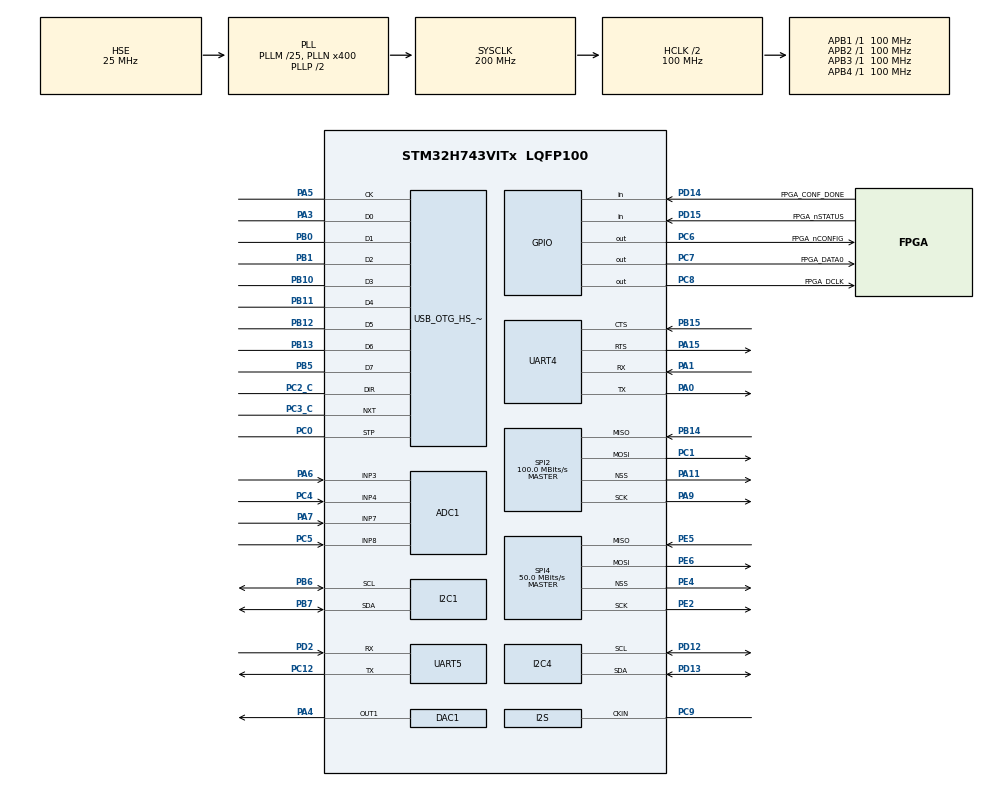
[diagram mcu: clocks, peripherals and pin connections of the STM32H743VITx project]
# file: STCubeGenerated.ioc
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ADC1.Channel-0\#ChannelRegularConversion=ADC_CHANNEL_3
ADC1.NbrOfConversionFlag=1
ADC1.OffsetNumber-0\#ChannelRegularConversion=ADC_OFFSET_NONE
ADC1.Rank-0\#ChannelRegularConversion=1
ADC1.SamplingTime-0\#ChannelRegularConversion=ADC_SAMPLETIME_1CYCLE_5
ADC1.master=1
Bdma.I2C4_RX.0.Direction=DMA_PERIPH_TO_MEMORY
Bdma.I2C4_RX.0.EventEnable=DISABLE
Bdma.I2C4_RX.0.Instance=BDMA_Channel0
Bdma.I2C4_RX.0.MemDataAlignment=DMA_MDATAALIGN_BYTE
Bdma.I2C4_RX.0.MemInc=DMA_MINC_ENABLE
Bdma.I2C4_RX.0.Mode=DMA_NORMAL
Bdma.I2C4_RX.0.PeriphDataAlignment=DMA_PDATAALIGN_BYTE
Bdma.I2C4_RX.0.PeriphInc=DMA_PINC_DISABLE
Bdma.I2C4_RX.0.Polarity=HAL_DMAMUX_REQ_GEN_RISING
Bdma.I2C4_RX.0.Priority=DMA_PRIORITY_LOW
Bdma.I2C4_RX.0.RequestNumber=1
Bdma.I2C4_RX.0.SignalID=NONE
Bdma.I2C4_RX.0.SyncEnable=DISABLE
Bdma.I2C4_RX.0.SyncPolarity=HAL_DMAMUX_SYNC_NO_EVENT
Bdma.I2C4_RX.0.SyncRequestNumber=1
Bdma.I2C4_RX.0.SyncSignalID=NONE
Bdma.I2C4_TX.1.Direction=DMA_MEMORY_TO_PERIPH
Bdma.I2C4_TX.1.EventEnable=DISABLE
Bdma.I2C4_TX.1.Instance=BDMA_Channel1
Bdma.I2C4_TX.1.MemDataAlignment=DMA_MDATAALIGN_BYTE
Bdma.I2C4_TX.1.MemInc=DMA_MINC_ENABLE
Bdma.I2C4_TX.1.Mode=DMA_NORMAL
Bdma.I2C4_TX.1.PeriphDataAlignment=DMA_PDATAALIGN_BYTE
Bdma.I2C4_TX.1.PeriphInc=DMA_PINC_DISABLE
Bdma.I2C4_TX.1.Polarity=HAL_DMAMUX_REQ_GEN_RISING
Bdma.I2C4_TX.1.Priority=DMA_PRIORITY_LOW
Bdma.I2C4_TX.1.RequestNumber=1
Bdma.I2C4_TX.1.SignalID=NONE
Bdma.I2C4_TX.1.SyncEnable=DISABLE
Bdma.I2C4_TX.1.SyncPolarity=HAL_DMAMUX_SYNC_NO_EVENT
Bdma.I2C4_TX.1.SyncRequestNumber=1
Bdma.I2C4_TX.1.SyncSignalID=NONE
Bdma.Request0=I2C4_RX
Bdma.Request1=I2C4_TX
Bdma.RequestsNb=2
CORTEX_M7.CPU_DCache=Enabled
CORTEX_M7.CPU_ICache=Enabled
Dma.I2C1_RX.0.Direction=DMA_PERIPH_TO_MEMORY
Dma.I2C1_RX.0.EventEnable=DISABLE
Dma.I2C1_RX.0.FIFOMode=DMA_FIFOMODE_DISABLE
Dma.I2C1_RX.0.Instance=DMA1_Stream0
Dma.I2C1_RX.0.MemDataAlignment=DMA_MDATAALIGN_BYTE
Dma.I2C1_RX.0.MemInc=DMA_MINC_ENABLE
Dma.I2C1_RX.0.Mode=DMA_NORMAL
Dma.I2C1_RX.0.PeriphDataAlignment=DMA_PDATAALIGN_BYTE
Dma.I2C1_RX.0.PeriphInc=DMA_PINC_DISABLE
Dma.I2C1_RX.0.Polarity=HAL_DMAMUX_REQ_GEN_RISING
Dma.I2C1_RX.0.Priority=DMA_PRIORITY_LOW
Dma.I2C1_RX.0.RequestNumber=1
Dma.I2C1_RX.0.SignalID=NONE
Dma.I2C1_RX.0.SyncEnable=DISABLE
Dma.I2C1_RX.0.SyncPolarity=HAL_DMAMUX_SYNC_NO_EVENT
Dma.I2C1_RX.0.SyncRequestNumber=1
Dma.I2C1_RX.0.SyncSignalID=NONE
Dma.I2C1_TX.1.Direction=DMA_MEMORY_TO_PERIPH
Dma.I2C1_TX.1.EventEnable=DISABLE
Dma.I2C1_TX.1.FIFOMode=DMA_FIFOMODE_DISABLE
Dma.I2C1_TX.1.Instance=DMA1_Stream1
Dma.I2C1_TX.1.MemDataAlignment=DMA_MDATAALIGN_BYTE
Dma.I2C1_TX.1.MemInc=DMA_MINC_ENABLE
Dma.I2C1_TX.1.Mode=DMA_NORMAL
Dma.I2C1_TX.1.PeriphDataAlignment=DMA_PDATAALIGN_BYTE
Dma.I2C1_TX.1.PeriphInc=DMA_PINC_DISABLE
Dma.I2C1_TX.1.Polarity=HAL_DMAMUX_REQ_GEN_RISING
Dma.I2C1_TX.1.Priority=DMA_PRIORITY_LOW
Dma.I2C1_TX.1.RequestNumber=1
Dma.I2C1_TX.1.SignalID=NONE
Dma.I2C1_TX.1.SyncEnable=DISABLE
Dma.I2C1_TX.1.SyncPolarity=HAL_DMAMUX_SYNC_NO_EVENT
Dma.I2C1_TX.1.SyncRequestNumber=1
Dma.I2C1_TX.1.SyncSignalID=NONE
Dma.Request0=I2C1_RX
Dma.Request1=I2C1_TX
Dma.Request2=SPI2_RX
Dma.Request3=SPI2_TX
Dma.Request4=SPI4_RX
Dma.Request5=SPI4_TX
Dma.Request6=UART4_RX
Dma.Request7=UART4_TX
Dma.Request8=UART5_RX
Dma.Request9=UART5_TX
Dma.SPI2_RX.2.Direction=DMA_PERIPH_TO_MEMORY
Dma.SPI2_RX.2.EventEnable=DISABLE
Dma.SPI2_RX.2.FIFOMode=DMA_FIFOMODE_DISABLE
Dma.SPI2_RX.2.Instance=DMA1_Stream2
Dma.SPI2_RX.2.MemDataAlignment=DMA_MDATAALIGN_BYTE
Dma.SPI2_RX.2.MemInc=DMA_MINC_ENABLE
Dma.SPI2_RX.2.Mode=DMA_NORMAL
Dma.SPI2_RX.2.PeriphDataAlignment=DMA_PDATAALIGN_BYTE
Dma.SPI2_RX.2.PeriphInc=DMA_PINC_DISABLE
Dma.SPI2_RX.2.Polarity=HAL_DMAMUX_REQ_GEN_RISING
Dma.SPI2_RX.2.Priority=DMA_PRIORITY_LOW
Dma.SPI2_RX.2.RequestNumber=1
Dma.SPI2_RX.2.SignalID=NONE
Dma.SPI2_RX.2.SyncEnable=DISABLE
Dma.SPI2_RX.2.SyncPolarity=HAL_DMAMUX_SYNC_NO_EVENT
Dma.SPI2_RX.2.SyncRequestNumber=1
Dma.SPI2_RX.2.SyncSignalID=NONE
Dma.SPI2_TX.3.Direction=DMA_MEMORY_TO_PERIPH
Dma.SPI2_TX.3.EventEnable=DISABLE
Dma.SPI2_TX.3.FIFOMode=DMA_FIFOMODE_DISABLE
Dma.SPI2_TX.3.Instance=DMA1_Stream3
Dma.SPI2_TX.3.MemDataAlignment=DMA_MDATAALIGN_BYTE
Dma.SPI2_TX.3.MemInc=DMA_MINC_ENABLE
Dma.SPI2_TX.3.Mode=DMA_NORMAL
Dma.SPI2_TX.3.PeriphDataAlignment=DMA_PDATAALIGN_BYTE
Dma.SPI2_TX.3.PeriphInc=DMA_PINC_DISABLE
Dma.SPI2_TX.3.Polarity=HAL_DMAMUX_REQ_GEN_RISING
Dma.SPI2_TX.3.Priority=DMA_PRIORITY_LOW
Dma.SPI2_TX.3.RequestNumber=1
Dma.SPI2_TX.3.SignalID=NONE
Dma.SPI2_TX.3.SyncEnable=DISABLE
Dma.SPI2_TX.3.SyncPolarity=HAL_DMAMUX_SYNC_NO_EVENT
Dma.SPI2_TX.3.SyncRequestNumber=1
Dma.SPI2_TX.3.SyncSignalID=NONE
Dma.SPI4_RX.4.Direction=DMA_PERIPH_TO_MEMORY
Dma.SPI4_RX.4.EventEnable=DISABLE
Dma.SPI4_RX.4.FIFOMode=DMA_FIFOMODE_DISABLE
Dma.SPI4_RX.4.Instance=DMA1_Stream4
Dma.SPI4_RX.4.MemDataAlignment=DMA_MDATAALIGN_BYTE
Dma.SPI4_RX.4.MemInc=DMA_MINC_ENABLE
Dma.SPI4_RX.4.Mode=DMA_NORMAL
Dma.SPI4_RX.4.PeriphDataAlignment=DMA_PDATAALIGN_BYTE
Dma.SPI4_RX.4.PeriphInc=DMA_PINC_DISABLE
Dma.SPI4_RX.4.Polarity=HAL_DMAMUX_REQ_GEN_RISING
Dma.SPI4_RX.4.Priority=DMA_PRIORITY_LOW
Dma.SPI4_RX.4.RequestNumber=1
Dma.SPI4_RX.4.SignalID=NONE
Dma.SPI4_RX.4.SyncEnable=DISABLE
Dma.SPI4_RX.4.SyncPolarity=HAL_DMAMUX_SYNC_NO_EVENT
Dma.SPI4_RX.4.SyncRequestNumber=1
Dma.SPI4_RX.4.SyncSignalID=NONE
Dma.SPI4_TX.5.Direction=DMA_MEMORY_TO_PERIPH
Dma.SPI4_TX.5.EventEnable=DISABLE
Dma.SPI4_TX.5.FIFOMode=DMA_FIFOMODE_DISABLE
Dma.SPI4_TX.5.Instance=DMA1_Stream5
Dma.SPI4_TX.5.MemDataAlignment=DMA_MDATAALIGN_BYTE
Dma.SPI4_TX.5.MemInc=DMA_MINC_ENABLE
Dma.SPI4_TX.5.Mode=DMA_NORMAL
Dma.SPI4_TX.5.PeriphDataAlignment=DMA_PDATAALIGN_BYTE
Dma.SPI4_TX.5.PeriphInc=DMA_PINC_DISABLE
Dma.SPI4_TX.5.Polarity=HAL_DMAMUX_REQ_GEN_RISING
Dma.SPI4_TX.5.Priority=DMA_PRIORITY_LOW
Dma.SPI4_TX.5.RequestNumber=1
Dma.SPI4_TX.5.SignalID=NONE
Dma.SPI4_TX.5.SyncEnable=DISABLE
Dma.SPI4_TX.5.SyncPolarity=HAL_DMAMUX_SYNC_NO_EVENT
Dma.SPI4_TX.5.SyncRequestNumber=1
Dma.SPI4_TX.5.SyncSignalID=NONE
Dma.UART4_RX.6.Direction=DMA_PERIPH_TO_MEMORY
Dma.UART4_RX.6.EventEnable=DISABLE
Dma.UART4_RX.6.FIFOMode=DMA_FIFOMODE_DISABLE
Dma.UART4_RX.6.Instance=DMA1_Stream6
Dma.UART4_RX.6.MemDataAlignment=DMA_MDATAALIGN_BYTE
Dma.UART4_RX.6.MemInc=DMA_MINC_ENABLE
Dma.UART4_RX.6.Mode=DMA_NORMAL
Dma.UART4_RX.6.PeriphDataAlignment=DMA_PDATAALIGN_BYTE
Dma.UART4_RX.6.PeriphInc=DMA_PINC_DISABLE
Dma.UART4_RX.6.Polarity=HAL_DMAMUX_REQ_GEN_RISING
Dma.UART4_RX.6.Priority=DMA_PRIORITY_LOW
Dma.UART4_RX.6.RequestNumber=1
Dma.UART4_RX.6.SignalID=NONE
Dma.UART4_RX.6.SyncEnable=DISABLE
Dma.UART4_RX.6.SyncPolarity=HAL_DMAMUX_SYNC_NO_EVENT
Dma.UART4_RX.6.SyncRequestNumber=1
Dma.UART4_RX.6.SyncSignalID=NONE
Dma.UART4_TX.7.Direction=DMA_MEMORY_TO_PERIPH
Dma.UART4_TX.7.EventEnable=DISABLE
Dma.UART4_TX.7.FIFOMode=DMA_FIFOMODE_DISABLE
Dma.UART4_TX.7.Instance=DMA1_Stream7
Dma.UART4_TX.7.MemDataAlignment=DMA_MDATAALIGN_BYTE
Dma.UART4_TX.7.MemInc=DMA_MINC_ENABLE
Dma.UART4_TX.7.Mode=DMA_NORMAL
Dma.UART4_TX.7.PeriphDataAlignment=DMA_PDATAALIGN_BYTE
Dma.UART4_TX.7.PeriphInc=DMA_PINC_DISABLE
Dma.UART4_TX.7.Polarity=HAL_DMAMUX_REQ_GEN_RISING
Dma.UART4_TX.7.Priority=DMA_PRIORITY_LOW
Dma.UART4_TX.7.RequestNumber=1
Dma.UART4_TX.7.SignalID=NONE
Dma.UART4_TX.7.SyncEnable=DISABLE
Dma.UART4_TX.7.SyncPolarity=HAL_DMAMUX_SYNC_NO_EVENT
Dma.UART4_TX.7.SyncRequestNumber=1
Dma.UART4_TX.7.SyncSignalID=NONE
Dma.UART5_RX.8.Direction=DMA_PERIPH_TO_MEMORY
Dma.UART5_RX.8.EventEnable=DISABLE
Dma.UART5_RX.8.FIFOMode=DMA_FIFOMODE_DISABLE
Dma.UART5_RX.8.Instance=DMA2_Stream0
Dma.UART5_RX.8.MemDataAlignment=DMA_MDATAALIGN_BYTE
Dma.UART5_RX.8.MemInc=DMA_MINC_ENABLE
Dma.UART5_RX.8.Mode=DMA_NORMAL
Dma.UART5_RX.8.PeriphDataAlignment=DMA_PDATAALIGN_BYTE
Dma.UART5_RX.8.PeriphInc=DMA_PINC_DISABLE
Dma.UART5_RX.8.Polarity=HAL_DMAMUX_REQ_GEN_RISING
Dma.UART5_RX.8.Priority=DMA_PRIORITY_LOW
Dma.UART5_RX.8.RequestNumber=1
Dma.UART5_RX.8.SignalID=NONE
Dma.UART5_RX.8.SyncEnable=DISABLE
Dma.UART5_RX.8.SyncPolarity=HAL_DMAMUX_SYNC_NO_EVENT
Dma.UART5_RX.8.SyncRequestNumber=1
Dma.UART5_RX.8.SyncSignalID=NONE
Dma.UART5_TX.9.Direction=DMA_MEMORY_TO_PERIPH
Dma.UART5_TX.9.EventEnable=DISABLE
Dma.UART5_TX.9.FIFOMode=DMA_FIFOMODE_DISABLE
Dma.UART5_TX.9.Instance=DMA2_Stream1
Dma.UART5_TX.9.MemDataAlignment=DMA_MDATAALIGN_BYTE
Dma.UART5_TX.9.MemInc=DMA_MINC_ENABLE
Dma.UART5_TX.9.Mode=DMA_NORMAL
Dma.UART5_TX.9.PeriphDataAlignment=DMA_PDATAALIGN_BYTE
Dma.UART5_TX.9.PeriphInc=DMA_PINC_DISABLE
Dma.UART5_TX.9.Polarity=HAL_DMAMUX_REQ_GEN_RISING
Dma.UART5_TX.9.Priority=DMA_PRIORITY_LOW
Dma.UART5_TX.9.RequestNumber=1
Dma.UART5_TX.9.SignalID=NONE
Dma.UART5_TX.9.SyncEnable=DISABLE
Dma.UART5_TX.9.SyncPolarity=HAL_DMAMUX_SYNC_NO_EVENT
Dma.UART5_TX.9.SyncRequestNumber=1
Dma.UART5_TX.9.SyncSignalID=NONE
I2C1.Timing=0x10C0ECFF
I2C4.Timing=0x10C0ECFF
Mcu.Family=STM32H7
Mcu.Name=STM32H743VITx
Mcu.Package=LQFP100
NVIC.BDMA_Channel0_IRQn=true\:0\:0\:false\:false\:true\:false\:true
NVIC.BDMA_Channel1_IRQn=true\:0\:0\:false\:false\:true\:false\:true
NVIC.DMA1_Stream0_IRQn=true\:0\:0\:false\:false\:true\:false\:true
NVIC.DMA1_Stream1_IRQn=true\:0\:0\:false\:false\:true\:false\:true
NVIC.DMA1_Stream2_IRQn=true\:0\:0\:false\:false\:true\:false\:true
NVIC.DMA1_Stream3_IRQn=true\:0\:0\:false\:false\:true\:false\:true
NVIC.DMA1_Stream4_IRQn=true\:0\:0\:false\:false\:true\:false\:true
NVIC.DMA1_Stream5_IRQn=true\:0\:0\:false\:false\:true\:false\:true
NVIC.DMA1_Stream6_IRQn=true\:0\:0\:false\:false\:true\:false\:true
NVIC.DMA1_Stream7_IRQn=true\:0\:0\:false\:false\:true\:false\:true
NVIC.DMA2_Stream0_IRQn=true\:0\:0\:false\:false\:true\:false\:true
NVIC.DMA2_Stream1_IRQn=true\:0\:0\:false\:false\:true\:false\:true
NVIC.PriorityGroup=NVIC_PRIORITYGROUP_4
NVIC.SPI2_IRQn=true\:0\:0\:false\:false\:true\:false\:true
NVIC.SPI4_IRQn=true\:0\:0\:false\:false\:true\:false\:true
PA0.Mode=Asynchronous
PA0.Signal=UART4_TX
PA1.Mode=Asynchronous
PA1.Signal=UART4_RX
PA11.Mode=NSS_Signal_Hard_Output
PA11.Signal=SPI2_NSS
PA13\ (JTMS/SWDIO).Mode=Trace_Asynchronous_SW
PA13\ (JTMS/SWDIO).Signal=SYS_JTMS-SWDIO
PA14\ (JTCK/SWCLK).Mode=Trace_Asynchronous_SW
PA14\ (JTCK/SWCLK).Signal=SYS_JTCK-SWCLK
PA15\ (JTDI).Mode=CTS_RTS
PA15\ (JTDI).Signal=UART4_RTS
PA3.Mode=Host_HS
PA3.Signal=USB_OTG_HS_ULPI_D0
PA4.Signal=COMP_DAC11_group
PA5.Mode=Host_HS
PA5.Signal=USB_OTG_HS_ULPI_CK
PA6.Signal=ADCx_INP3
PA7.Signal=ADCx_INP7
PA9.Mode=Full_Duplex_Master
PA9.Signal=SPI2_SCK
PB0.Mode=Host_HS
PB0.Signal=USB_OTG_HS_ULPI_D1
PB1.Mode=Host_HS
PB1.Signal=USB_OTG_HS_ULPI_D2
PB10.Mode=Host_HS
PB10.Signal=USB_OTG_HS_ULPI_D3
PB11.Mode=Host_HS
PB11.Signal=USB_OTG_HS_ULPI_D4
PB12.Mode=Host_HS
PB12.Signal=USB_OTG_HS_ULPI_D5
PB13.Mode=Host_HS
PB13.Signal=USB_OTG_HS_ULPI_D6
PB14.Mode=Full_Duplex_Master
PB14.Signal=SPI2_MISO
PB15.Mode=CTS_RTS
PB15.Signal=UART4_CTS
PB3\ (JTDO/TRACESWO).Mode=Trace_Asynchronous_SW
PB3\ (JTDO/TRACESWO).Signal=SYS_JTDO-SWO
PB5.Mode=Host_HS
PB5.Signal=USB_OTG_HS_ULPI_D7
PB6.Mode=I2C
PB6.Signal=I2C1_SCL
PB7.Mode=I2C
PB7.Signal=I2C1_SDA
PC0.Mode=Host_HS
PC0.Signal=USB_OTG_HS_ULPI_STP
PC1.Mode=Full_Duplex_Master
PC1.Signal=SPI2_MOSI
PC12.Mode=Asynchronous
PC12.Signal=UART5_TX
PC14-OSC32_IN\ (OSC32_IN).Mode=LSE-External-Oscillator
PC14-OSC32_IN\ (OSC32_IN).Signal=RCC_OSC32_IN
PC15-OSC32_OUT\ (OSC32_OUT).Mode=LSE-External-Oscillator
PC15-OSC32_OUT\ (OSC32_OUT).Signal=RCC_OSC32_OUT
PC2_C.Mode=Host_HS
PC2_C.Signal=USB_OTG_HS_ULPI_DIR
PC3_C.Mode=Host_HS
PC3_C.Signal=USB_OTG_HS_ULPI_NXT
PC4.Signal=ADCx_INP4
PC5.Signal=ADCx_INP8
PC6.GPIO_Label=FPGA_nCONFIG
PC6.GPIO_ModeDefaultOutputPP=GPIO_MODE_OUTPUT_OD
PC6.GPIO_PuPd=GPIO_PULLUP
PC6.PinState=GPIO_PIN_SET
PC6.Signal=GPIO_Output
PC7.GPIO_Label=FPGA_DATA0
PC7.Signal=GPIO_Output
PC8.GPIO_Label=FPGA_DCLK
PC8.Signal=GPIO_Output
PC9.Mode=Audio_ClockIn
PC9.Signal=I2S_CKIN
PD12.Mode=I2C
PD12.Signal=I2C4_SCL
PD13.Mode=I2C
PD13.Signal=I2C4_SDA
PD14.GPIO_Label=FPGA_CONF_DONE
PD14.GPIO_PuPd=GPIO_PULLUP
PD14.Signal=GPIO_Input
PD15.GPIO_Label=FPGA_nSTATUS
PD15.GPIO_PuPd=GPIO_PULLUP
PD15.Signal=GPIO_Input
PD2.Mode=Asynchronous
PD2.Signal=UART5_RX
PE2.Mode=Full_Duplex_Master
PE2.Signal=SPI4_SCK
PE4.Mode=NSS_Signal_Hard_Output
PE4.Signal=SPI4_NSS
PE5.Mode=Full_Duplex_Master
PE5.Signal=SPI4_MISO
PE6.Mode=Full_Duplex_Master
PE6.Signal=SPI4_MOSI
PH0-OSC_IN\ (PH0).Mode=HSE-External-Clock-Source
PH0-OSC_IN\ (PH0).Signal=RCC_OSC_IN
PH1-OSC_OUT\ (PH1).Mode=HSE-External-Clock-Source
PH1-OSC_OUT\ (PH1).Signal=RCC_OSC_OUT
ProjectManager.HeapSize=0x200
ProjectManager.StackSize=0x400
ProjectManager.TargetToolchain=Makefile
RCC.ADCFreq_Value=100000000
RCC.APB1Freq_Value=100000000
RCC.APB2Freq_Value=100000000
RCC.APB3Freq_Value=100000000
RCC.APB4Freq_Value=100000000
RCC.CortexFreq_Value=200000000
RCC.DIVM1=25
RCC.DIVM2=25
RCC.DIVM3=25
RCC.DIVN1=400
RCC.DIVN2=200
RCC.HCLKFreq_Value=100000000
RCC.HPRE=RCC_HCLK_DIV2
RCC.PLLSourceVirtual=RCC_PLLSOURCE_HSE
RCC.SYSCLKFreq_VALUE=200000000
RCC.SYSCLKSource=RCC_SYSCLKSOURCE_PLLCLK
RCC.USBFreq_Value=200000000
SH.ADCx_INP3.0=ADC1_INP3,IN3-Single-Ended
SH.ADCx_INP4.0=ADC1_INP4,IN4-Single-Ended
SH.ADCx_INP7.0=ADC1_INP7,IN7-Single-Ended
SH.ADCx_INP8.0=ADC1_INP8,IN8-Single-Ended
SH.COMP_DAC11_group.0=DAC1_OUT1,DAC_OUT1
SPI2.CalculateBaudRate=100.0 MBits/s
SPI2.Direction=SPI_DIRECTION_2LINES
SPI2.Mode=SPI_MODE_MASTER
SPI2.VirtualNSS=VM_NSSHARD
SPI2.VirtualType=VM_MASTER
SPI4.CalculateBaudRate=50.0 MBits/s
SPI4.Direction=SPI_DIRECTION_2LINES
SPI4.Mode=SPI_MODE_MASTER
SPI4.VirtualNSS=VM_NSSHARD
SPI4.VirtualType=VM_MASTER
USB_OTG_HS.VirtualMode-Host_HS=Host_HS
board=custom

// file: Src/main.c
/* USER CODE BEGIN Header */
/**
  ******************************************************************************
  * @file           : main.c
  * @brief          : Main program body
  ******************************************************************************
  * @attention
  *
  * <h2><center>&copy; Copyright (c) 2019 STMicroelectronics.
  * All rights reserved.</center></h2>
  *
  * This software component is licensed by ST under BSD 3-Clause license,
  * the "License"; You may not use this file except in compliance with the
  * License. You may obtain a copy of the License at:
  *                        opensource.org/licenses/BSD-3-Clause
  *
  ******************************************************************************
  */
/* USER CODE END Header */

#include "main.h"

/* USER CODE BEGIN Includes */
#include "..\..\..\altera\blue_spirit_hd_transport.rbf.h"
#include "..\..\..\segger-rtt\SEGGER_RTT.h"
/* USER CODE END Includes */

ADC_HandleTypeDef hadc1;

DAC_HandleTypeDef hdac1;

I2C_HandleTypeDef hi2c1;
I2C_HandleTypeDef hi2c4;
DMA_HandleTypeDef hdma_i2c1_rx;
DMA_HandleTypeDef hdma_i2c1_tx;
DMA_HandleTypeDef hdma_i2c4_rx;
DMA_HandleTypeDef hdma_i2c4_tx;

SPI_HandleTypeDef hspi2;
SPI_HandleTypeDef hspi4;
DMA_HandleTypeDef hdma_spi2_rx;
DMA_HandleTypeDef hdma_spi2_tx;
DMA_HandleTypeDef hdma_spi4_rx;
DMA_HandleTypeDef hdma_spi4_tx;

UART_HandleTypeDef huart4;
UART_HandleTypeDef huart5;
DMA_HandleTypeDef hdma_uart4_rx;
DMA_HandleTypeDef hdma_uart4_tx;
DMA_HandleTypeDef hdma_uart5_rx;
DMA_HandleTypeDef hdma_uart5_tx;

HCD_HandleTypeDef hhcd_USB_OTG_HS;

void SystemClock_Config(void);
static void MX_GPIO_Init(void);
static void MX_DMA_Init(void);
static void MX_ADC1_Init(void);
static void MX_DAC1_Init(void);
static void MX_I2C1_Init(void);
static void MX_I2C4_Init(void);
static void MX_SPI2_Init(void);
static void MX_SPI4_Init(void);
static void MX_UART4_Init(void);
static void MX_UART5_Init(void);
static void MX_BDMA_Init(void);

int main(void)
{
  /* USER CODE BEGIN 1 */
	unsigned char uchRes = 0;
	SEGGER_RTT_WriteString( 0, "Hello Word!!! Bggg\n");

  /* USER CODE END 1 */

  /* Enable I-Cache---------------------------------------------------------*/
  SCB_EnableICache();

  /* Enable D-Cache---------------------------------------------------------*/
  SCB_EnableDCache();

  /* MCU Configuration--------------------------------------------------------*/

  /* Reset of all peripherals, Initializes the Flash interface and the Systick. */
  HAL_Init();

  /* Configure the system clock */
  SystemClock_Config();

  /* Initialize all configured peripherals */
  MX_GPIO_Init();
  MX_DMA_Init();
  MX_ADC1_Init();
  MX_DAC1_Init();
  MX_I2C1_Init();
  MX_I2C4_Init();
  MX_SPI2_Init();
  MX_SPI4_Init();
  MX_UART4_Init();
  MX_UART5_Init();
  MX_BDMA_Init();
  /* USER CODE BEGIN 2 */
  	uchRes = rbf_load_fpga( 1000 );
 	while( uchRes != 0 )
	{
 		uchRes = rbf_load_fpga( 1000 );
	}

  /* USER CODE END 2 */

  /* Infinite loop */
  while (1)
  {

  }
}

void SystemClock_Config(void)
{
  RCC_OscInitTypeDef RCC_OscInitStruct = {0};
  RCC_ClkInitTypeDef RCC_ClkInitStruct = {0};
  RCC_PeriphCLKInitTypeDef PeriphClkInitStruct = {0};

  /** Supply configuration update enable
  */
  MODIFY_REG(PWR->CR3, PWR_CR3_SCUEN, 0);
  /** Configure the main internal regulator output voltage
  */
  __HAL_PWR_VOLTAGESCALING_CONFIG(PWR_REGULATOR_VOLTAGE_SCALE3);

  while ((PWR->D3CR & (PWR_D3CR_VOSRDY)) != PWR_D3CR_VOSRDY)
  {

  }
  /** Macro to configure the PLL clock source
  */
  __HAL_RCC_PLL_PLLSOURCE_CONFIG(RCC_PLLSOURCE_HSE);
  /** Initializes the CPU, AHB and APB busses clocks
  */
  RCC_OscInitStruct.OscillatorType = RCC_OSCILLATORTYPE_HSE;
  RCC_OscInitStruct.HSEState = RCC_HSE_BYPASS;
  RCC_OscInitStruct.PLL.PLLState = RCC_PLL_ON;
  RCC_OscInitStruct.PLL.PLLSource = RCC_PLLSOURCE_HSE;
  RCC_OscInitStruct.PLL.PLLM = 25;
  RCC_OscInitStruct.PLL.PLLN = 400;
  RCC_OscInitStruct.PLL.PLLP = 2;
  RCC_OscInitStruct.PLL.PLLQ = 2;
  RCC_OscInitStruct.PLL.PLLR = 2;
  RCC_OscInitStruct.PLL.PLLRGE = RCC_PLL1VCIRANGE_0;
  RCC_OscInitStruct.PLL.PLLVCOSEL = RCC_PLL1VCOWIDE;
  RCC_OscInitStruct.PLL.PLLFRACN = 0;
  if (HAL_RCC_OscConfig(&RCC_OscInitStruct) != HAL_OK)
  {
    Error_Handler();
  }
  /** Initializes the CPU, AHB and APB busses clocks
  */
  RCC_ClkInitStruct.ClockType = RCC_CLOCKTYPE_HCLK|RCC_CLOCKTYPE_SYSCLK
                              |RCC_CLOCKTYPE_PCLK1|RCC_CLOCKTYPE_PCLK2
                              |RCC_CLOCKTYPE_D3PCLK1|RCC_CLOCKTYPE_D1PCLK1;
  RCC_ClkInitStruct.SYSCLKSource = RCC_SYSCLKSOURCE_PLLCLK;
  RCC_ClkInitStruct.SYSCLKDivider = RCC_SYSCLK_DIV1;
  RCC_ClkInitStruct.AHBCLKDivider = RCC_HCLK_DIV2;
  RCC_ClkInitStruct.APB3CLKDivider = RCC_APB3_DIV1;
  RCC_ClkInitStruct.APB1CLKDivider = RCC_APB1_DIV1;
  RCC_ClkInitStruct.APB2CLKDivider = RCC_APB2_DIV1;
  RCC_ClkInitStruct.APB4CLKDivider = RCC_APB4_DIV1;

  if (HAL_RCC_ClockConfig(&RCC_ClkInitStruct, FLASH_LATENCY_1) != HAL_OK)
  {
    Error_Handler();
  }
  PeriphClkInitStruct.PeriphClockSelection = RCC_PERIPHCLK_UART4|RCC_PERIPHCLK_UART5
                              |RCC_PERIPHCLK_SPI4|RCC_PERIPHCLK_SPI2
                              |RCC_PERIPHCLK_ADC|RCC_PERIPHCLK_I2C1
                              |RCC_PERIPHCLK_I2C4;
  PeriphClkInitStruct.PLL2.PLL2M = 25;
  PeriphClkInitStruct.PLL2.PLL2N = 200;
  PeriphClkInitStruct.PLL2.PLL2P = 2;
  PeriphClkInitStruct.PLL2.PLL2Q = 2;
  PeriphClkInitStruct.PLL2.PLL2R = 2;
  PeriphClkInitStruct.PLL2.PLL2RGE = RCC_PLL2VCIRANGE_0;
  PeriphClkInitStruct.PLL2.PLL2VCOSEL = RCC_PLL2VCOWIDE;
  PeriphClkInitStruct.PLL2.PLL2FRACN = 0;
  PeriphClkInitStruct.Spi123ClockSelection = RCC_SPI123CLKSOURCE_PLL;
  PeriphClkInitStruct.Spi45ClockSelection = RCC_SPI45CLKSOURCE_D2PCLK1;
  PeriphClkInitStruct.Usart234578ClockSelection = RCC_USART234578CLKSOURCE_D2PCLK1;
  PeriphClkInitStruct.I2c123ClockSelection = RCC_I2C123CLKSOURCE_D2PCLK1;
  PeriphClkInitStruct.I2c4ClockSelection = RCC_I2C4CLKSOURCE_D3PCLK1;
  PeriphClkInitStruct.AdcClockSelection = RCC_ADCCLKSOURCE_PLL2;
  if (HAL_RCCEx_PeriphCLKConfig(&PeriphClkInitStruct) != HAL_OK)
  {
    Error_Handler();
  }
}

static void MX_ADC1_Init(void)
{

  ADC_MultiModeTypeDef multimode = {0};
  ADC_ChannelConfTypeDef sConfig = {0};

  /** Common config
  */
  hadc1.Instance = ADC1;
  hadc1.Init.ClockPrescaler = ADC_CLOCK_ASYNC_DIV1;
  hadc1.Init.Resolution = ADC_RESOLUTION_16B;
  hadc1.Init.ScanConvMode = ADC_SCAN_DISABLE;
  hadc1.Init.EOCSelection = ADC_EOC_SINGLE_CONV;
  hadc1.Init.LowPowerAutoWait = DISABLE;
  hadc1.Init.ContinuousConvMode = DISABLE;
  hadc1.Init.NbrOfConversion = 1;
  hadc1.Init.DiscontinuousConvMode = DISABLE;
  hadc1.Init.ExternalTrigConv = ADC_SOFTWARE_START;
  hadc1.Init.ExternalTrigConvEdge = ADC_EXTERNALTRIGCONVEDGE_NONE;
  hadc1.Init.ConversionDataManagement = ADC_CONVERSIONDATA_DR;
  hadc1.Init.Overrun = ADC_OVR_DATA_PRESERVED;
  hadc1.Init.LeftBitShift = ADC_LEFTBITSHIFT_NONE;
  hadc1.Init.BoostMode = DISABLE;
  hadc1.Init.OversamplingMode = DISABLE;
  if (HAL_ADC_Init(&hadc1) != HAL_OK)
  {
    Error_Handler();
  }
  /** Configure the ADC multi-mode
  */
  multimode.Mode = ADC_MODE_INDEPENDENT;
  if (HAL_ADCEx_MultiModeConfigChannel(&hadc1, &multimode) != HAL_OK)
  {
    Error_Handler();
  }
  /** Configure Regular Channel
  */
  sConfig.Channel = ADC_CHANNEL_3;
  sConfig.Rank = ADC_REGULAR_RANK_1;
  sConfig.SamplingTime = ADC_SAMPLETIME_1CYCLE_5;
  sConfig.SingleDiff = ADC_SINGLE_ENDED;
  sConfig.OffsetNumber = ADC_OFFSET_NONE;
  sConfig.Offset = 0;
  if (HAL_ADC_ConfigChannel(&hadc1, &sConfig) != HAL_OK)
  {
    Error_Handler();
  }

}

static void MX_DAC1_Init(void)
{

  DAC_ChannelConfTypeDef sConfig = {0};

  /** DAC Initialization
  */
  hdac1.Instance = DAC1;
  if (HAL_DAC_Init(&hdac1) != HAL_OK)
  {
    Error_Handler();
  }
  /** DAC channel OUT1 config
  */
  sConfig.DAC_SampleAndHold = DAC_SAMPLEANDHOLD_DISABLE;
  sConfig.DAC_Trigger = DAC_TRIGGER_NONE;
  sConfig.DAC_OutputBuffer = DAC_OUTPUTBUFFER_ENABLE;
  sConfig.DAC_ConnectOnChipPeripheral = DAC_CHIPCONNECT_DISABLE;
  sConfig.DAC_UserTrimming = DAC_TRIMMING_FACTORY;
  if (HAL_DAC_ConfigChannel(&hdac1, &sConfig, DAC_CHANNEL_1) != HAL_OK)
  {
    Error_Handler();
  }

}

static void MX_I2C1_Init(void)
{

  hi2c1.Instance = I2C1;
  hi2c1.Init.Timing = 0x10C0ECFF;
  hi2c1.Init.OwnAddress1 = 0;
  hi2c1.Init.AddressingMode = I2C_ADDRESSINGMODE_7BIT;
  hi2c1.Init.DualAddressMode = I2C_DUALADDRESS_DISABLE;
  hi2c1.Init.OwnAddress2 = 0;
  hi2c1.Init.OwnAddress2Masks = I2C_OA2_NOMASK;
  hi2c1.Init.GeneralCallMode = I2C_GENERALCALL_DISABLE;
  hi2c1.Init.NoStretchMode = I2C_NOSTRETCH_DISABLE;
  if (HAL_I2C_Init(&hi2c1) != HAL_OK)
  {
    Error_Handler();
  }
  /** Configure Analogue filter
  */
  if (HAL_I2CEx_ConfigAnalogFilter(&hi2c1, I2C_ANALOGFILTER_ENABLE) != HAL_OK)
  {
    Error_Handler();
  }
  /** Configure Digital filter
  */
  if (HAL_I2CEx_ConfigDigitalFilter(&hi2c1, 0) != HAL_OK)
  {
    Error_Handler();
  }

}

static void MX_I2C4_Init(void)
{

  hi2c4.Instance = I2C4;
  hi2c4.Init.Timing = 0x10C0ECFF;
  hi2c4.Init.OwnAddress1 = 0;
  hi2c4.Init.AddressingMode = I2C_ADDRESSINGMODE_7BIT;
  hi2c4.Init.DualAddressMode = I2C_DUALADDRESS_DISABLE;
  hi2c4.Init.OwnAddress2 = 0;
  hi2c4.Init.OwnAddress2Masks = I2C_OA2_NOMASK;
  hi2c4.Init.GeneralCallMode = I2C_GENERALCALL_DISABLE;
  hi2c4.Init.NoStretchMode = I2C_NOSTRETCH_DISABLE;
  if (HAL_I2C_Init(&hi2c4) != HAL_OK)
  {
    Error_Handler();
  }
  /** Configure Analogue filter
  */
  if (HAL_I2CEx_ConfigAnalogFilter(&hi2c4, I2C_ANALOGFILTER_ENABLE) != HAL_OK)
  {
    Error_Handler();
  }
  /** Configure Digital filter
  */
  if (HAL_I2CEx_ConfigDigitalFilter(&hi2c4, 0) != HAL_OK)
  {
    Error_Handler();
  }

}

static void MX_SPI2_Init(void)
{

  /* SPI2 parameter configuration*/
  hspi2.Instance = SPI2;
  hspi2.Init.Mode = SPI_MODE_MASTER;
  hspi2.Init.Direction = SPI_DIRECTION_2LINES;
  hspi2.Init.DataSize = SPI_DATASIZE_4BIT;
  hspi2.Init.CLKPolarity = SPI_POLARITY_LOW;
  hspi2.Init.CLKPhase = SPI_PHASE_1EDGE;
  hspi2.Init.NSS = SPI_NSS_HARD_OUTPUT;
  hspi2.Init.BaudRatePrescaler = SPI_BAUDRATEPRESCALER_2;
  hspi2.Init.FirstBit = SPI_FIRSTBIT_MSB;
  hspi2.Init.TIMode = SPI_TIMODE_DISABLE;
  hspi2.Init.CRCCalculation = SPI_CRCCALCULATION_DISABLE;
  hspi2.Init.CRCPolynomial = 7;
  hspi2.Init.NSSPMode = SPI_NSS_PULSE_ENABLE;
  hspi2.Init.NSSPolarity = SPI_NSS_POLARITY_LOW;
  hspi2.Init.FifoThreshold = SPI_FIFO_THRESHOLD_01DATA;
  hspi2.Init.TxCRCInitializationPattern = SPI_CRC_INITIALIZATION_ALL_ZERO_PATTERN;
  hspi2.Init.RxCRCInitializationPattern = SPI_CRC_INITIALIZATION_ALL_ZERO_PATTERN;
  hspi2.Init.MasterSSIdleness = SPI_MASTER_SS_IDLENESS_00CYCLE;
  hspi2.Init.MasterInterDataIdleness = SPI_MASTER_INTERDATA_IDLENESS_00CYCLE;
  hspi2.Init.MasterReceiverAutoSusp = SPI_MASTER_RX_AUTOSUSP_DISABLE;
  hspi2.Init.MasterKeepIOState = SPI_MASTER_KEEP_IO_STATE_DISABLE;
  hspi2.Init.IOSwap = SPI_IO_SWAP_DISABLE;
  if (HAL_SPI_Init(&hspi2) != HAL_OK)
  {
    Error_Handler();
  }

}

static void MX_SPI4_Init(void)
{

  /* SPI4 parameter configuration*/
  hspi4.Instance = SPI4;
  hspi4.Init.Mode = SPI_MODE_MASTER;
  hspi4.Init.Direction = SPI_DIRECTION_2LINES;
  hspi4.Init.DataSize = SPI_DATASIZE_4BIT;
  hspi4.Init.CLKPolarity = SPI_POLARITY_LOW;
  hspi4.Init.CLKPhase = SPI_PHASE_1EDGE;
  hspi4.Init.NSS = SPI_NSS_HARD_OUTPUT;
  hspi4.Init.BaudRatePrescaler = SPI_BAUDRATEPRESCALER_2;
  hspi4.Init.FirstBit = SPI_FIRSTBIT_MSB;
  hspi4.Init.TIMode = SPI_TIMODE_DISABLE;
  hspi4.Init.CRCCalculation = SPI_CRCCALCULATION_DISABLE;
  hspi4.Init.CRCPolynomial = 7;
  hspi4.Init.NSSPMode = SPI_NSS_PULSE_ENABLE;
  hspi4.Init.NSSPolarity = SPI_NSS_POLARITY_LOW;
  hspi4.Init.FifoThreshold = SPI_FIFO_THRESHOLD_01DATA;
  hspi4.Init.TxCRCInitializationPattern = SPI_CRC_INITIALIZATION_ALL_ZERO_PATTERN;
  hspi4.Init.RxCRCInitializationPattern = SPI_CRC_INITIALIZATION_ALL_ZERO_PATTERN;
  hspi4.Init.MasterSSIdleness = SPI_MASTER_SS_IDLENESS_00CYCLE;
  hspi4.Init.MasterInterDataIdleness = SPI_MASTER_INTERDATA_IDLENESS_00CYCLE;
  hspi4.Init.MasterReceiverAutoSusp = SPI_MASTER_RX_AUTOSUSP_DISABLE;
  hspi4.Init.MasterKeepIOState = SPI_MASTER_KEEP_IO_STATE_DISABLE;
  hspi4.Init.IOSwap = SPI_IO_SWAP_DISABLE;
  if (HAL_SPI_Init(&hspi4) != HAL_OK)
  {
    Error_Handler();
  }

}

static void MX_UART4_Init(void)
{

  huart4.Instance = UART4;
  huart4.Init.BaudRate = 115200;
  huart4.Init.WordLength = UART_WORDLENGTH_8B;
  huart4.Init.StopBits = UART_STOPBITS_1;
  huart4.Init.Parity = UART_PARITY_NONE;
  huart4.Init.Mode = UART_MODE_TX_RX;
  huart4.Init.HwFlowCtl = UART_HWCONTROL_RTS_CTS;
  huart4.Init.OverSampling = UART_OVERSAMPLING_16;
  huart4.Init.OneBitSampling = UART_ONE_BIT_SAMPLE_DISABLE;
  huart4.Init.Prescaler = UART_PRESCALER_DIV1;
  huart4.Init.FIFOMode = UART_FIFOMODE_DISABLE;
  huart4.Init.TXFIFOThreshold = UART_TXFIFO_THRESHOLD_1_8;
  huart4.Init.RXFIFOThreshold = UART_RXFIFO_THRESHOLD_1_8;
  huart4.AdvancedInit.AdvFeatureInit = UART_ADVFEATURE_NO_INIT;
  if (HAL_UART_Init(&huart4) != HAL_OK)
  {
    Error_Handler();
  }

}

static void MX_UART5_Init(void)
{

  huart5.Instance = UART5;
  huart5.Init.BaudRate = 115200;
  huart5.Init.WordLength = UART_WORDLENGTH_8B;
  huart5.Init.StopBits = UART_STOPBITS_1;
  huart5.Init.Parity = UART_PARITY_NONE;
  huart5.Init.Mode = UART_MODE_TX_RX;
  huart5.Init.HwFlowCtl = UART_HWCONTROL_NONE;
  huart5.Init.OverSampling = UART_OVERSAMPLING_16;
  huart5.Init.OneBitSampling = UART_ONE_BIT_SAMPLE_DISABLE;
  huart5.Init.Prescaler = UART_PRESCALER_DIV1;
  huart5.Init.FIFOMode = UART_FIFOMODE_DISABLE;
  huart5.Init.TXFIFOThreshold = UART_TXFIFO_THRESHOLD_1_8;
  huart5.Init.RXFIFOThreshold = UART_RXFIFO_THRESHOLD_1_8;
  huart5.AdvancedInit.AdvFeatureInit = UART_ADVFEATURE_NO_INIT;
  if (HAL_UART_Init(&huart5) != HAL_OK)
  {
    Error_Handler();
  }

}

void MX_USB_OTG_HS_HCD_Init(void)
{

  hhcd_USB_OTG_HS.Instance = USB_OTG_HS;
  hhcd_USB_OTG_HS.Init.Host_channels = 16;
  hhcd_USB_OTG_HS.Init.speed = HCD_SPEED_HIGH;
  hhcd_USB_OTG_HS.Init.dma_enable = DISABLE;
  hhcd_USB_OTG_HS.Init.phy_itface = USB_OTG_ULPI_PHY;
  hhcd_USB_OTG_HS.Init.Sof_enable = DISABLE;
  hhcd_USB_OTG_HS.Init.low_power_enable = DISABLE;
  hhcd_USB_OTG_HS.Init.use_external_vbus = ENABLE;
  if (HAL_HCD_Init(&hhcd_USB_OTG_HS) != HAL_OK)
  {
    Error_Handler();
  }

}

static void MX_BDMA_Init(void)
{
  /* DMA controller clock enable */
  __HAL_RCC_BDMA_CLK_ENABLE();

  /* DMA interrupt init */
  /* BDMA_Channel0_IRQn interrupt configuration */
  HAL_NVIC_SetPriority(BDMA_Channel0_IRQn, 0, 0);
  HAL_NVIC_EnableIRQ(BDMA_Channel0_IRQn);
  /* BDMA_Channel1_IRQn interrupt configuration */
  HAL_NVIC_SetPriority(BDMA_Channel1_IRQn, 0, 0);
  HAL_NVIC_EnableIRQ(BDMA_Channel1_IRQn);

}

static void MX_DMA_Init(void)
{
  /* DMA controller clock enable */
  __HAL_RCC_DMA1_CLK_ENABLE();
  __HAL_RCC_DMA2_CLK_ENABLE();

  /* DMA interrupt init */
  /* DMA1_Stream0_IRQn interrupt configuration */
  HAL_NVIC_SetPriority(DMA1_Stream0_IRQn, 0, 0);
  HAL_NVIC_EnableIRQ(DMA1_Stream0_IRQn);
  /* DMA1_Stream1_IRQn interrupt configuration */
  HAL_NVIC_SetPriority(DMA1_Stream1_IRQn, 0, 0);
  HAL_NVIC_EnableIRQ(DMA1_Stream1_IRQn);
  /* DMA1_Stream2_IRQn interrupt configuration */
  HAL_NVIC_SetPriority(DMA1_Stream2_IRQn, 0, 0);
  HAL_NVIC_EnableIRQ(DMA1_Stream2_IRQn);
  /* DMA1_Stream3_IRQn interrupt configuration */
  HAL_NVIC_SetPriority(DMA1_Stream3_IRQn, 0, 0);
  HAL_NVIC_EnableIRQ(DMA1_Stream3_IRQn);
  /* DMA1_Stream4_IRQn interrupt configuration */
  HAL_NVIC_SetPriority(DMA1_Stream4_IRQn, 0, 0);
  HAL_NVIC_EnableIRQ(DMA1_Stream4_IRQn);
  /* DMA1_Stream5_IRQn interrupt configuration */
  HAL_NVIC_SetPriority(DMA1_Stream5_IRQn, 0, 0);
  HAL_NVIC_EnableIRQ(DMA1_Stream5_IRQn);
  /* DMA1_Stream6_IRQn interrupt configuration */
  HAL_NVIC_SetPriority(DMA1_Stream6_IRQn, 0, 0);
  HAL_NVIC_EnableIRQ(DMA1_Stream6_IRQn);
  /* DMA1_Stream7_IRQn interrupt configuration */
  HAL_NVIC_SetPriority(DMA1_Stream7_IRQn, 0, 0);
  HAL_NVIC_EnableIRQ(DMA1_Stream7_IRQn);
  /* DMA2_Stream0_IRQn interrupt configuration */
  HAL_NVIC_SetPriority(DMA2_Stream0_IRQn, 0, 0);
  HAL_NVIC_EnableIRQ(DMA2_Stream0_IRQn);
  /* DMA2_Stream1_IRQn interrupt configuration */
  HAL_NVIC_SetPriority(DMA2_Stream1_IRQn, 0, 0);
  HAL_NVIC_EnableIRQ(DMA2_Stream1_IRQn);

}

static void MX_GPIO_Init(void)
{
  GPIO_InitTypeDef GPIO_InitStruct = {0};

  /* GPIO Ports Clock Enable */
  __HAL_RCC_GPIOE_CLK_ENABLE();
  __HAL_RCC_GPIOC_CLK_ENABLE();
  __HAL_RCC_GPIOH_CLK_ENABLE();
  __HAL_RCC_GPIOA_CLK_ENABLE();
  __HAL_RCC_GPIOB_CLK_ENABLE();
  __HAL_RCC_GPIOD_CLK_ENABLE();

  /*Configure GPIO pin Output Level */
  HAL_GPIO_WritePin(FPGA_nCONFIG_GPIO_Port, FPGA_nCONFIG_Pin, GPIO_PIN_SET);

  /*Configure GPIO pin Output Level */
  HAL_GPIO_WritePin(GPIOC, FPGA_DATA0_Pin|FPGA_DCLK_Pin, GPIO_PIN_RESET);

  /*Configure GPIO pins : FPGA_CONF_DONE_Pin FPGA_nSTATUS_Pin */
  GPIO_InitStruct.Pin = FPGA_CONF_DONE_Pin|FPGA_nSTATUS_Pin;
  GPIO_InitStruct.Mode = GPIO_MODE_INPUT;
  GPIO_InitStruct.Pull = GPIO_PULLUP;
  HAL_GPIO_Init(GPIOD, &GPIO_InitStruct);

  /*Configure GPIO pin : FPGA_nCONFIG_Pin */
  GPIO_InitStruct.Pin = FPGA_nCONFIG_Pin;
  GPIO_InitStruct.Mode = GPIO_MODE_OUTPUT_OD;
  GPIO_InitStruct.Pull = GPIO_PULLUP;
  GPIO_InitStruct.Speed = GPIO_SPEED_FREQ_LOW;
  HAL_GPIO_Init(FPGA_nCONFIG_GPIO_Port, &GPIO_InitStruct);

  /*Configure GPIO pins : FPGA_DATA0_Pin FPGA_DCLK_Pin */
  GPIO_InitStruct.Pin = FPGA_DATA0_Pin|FPGA_DCLK_Pin;
  GPIO_InitStruct.Mode = GPIO_MODE_OUTPUT_PP;
  GPIO_InitStruct.Pull = GPIO_NOPULL;
  GPIO_InitStruct.Speed = GPIO_SPEED_FREQ_LOW;
  HAL_GPIO_Init(GPIOC, &GPIO_InitStruct);

  /*Configure GPIO pin : PC9 */
  GPIO_InitStruct.Pin = GPIO_PIN_9;
  GPIO_InitStruct.Mode = GPIO_MODE_AF_PP;
  GPIO_InitStruct.Pull = GPIO_NOPULL;
  GPIO_InitStruct.Speed = GPIO_SPEED_FREQ_LOW;
  GPIO_InitStruct.Alternate = GPIO_AF5_SPI1;
  HAL_GPIO_Init(GPIOC, &GPIO_InitStruct);

}

/* USER CODE BEGIN 4 */
void fpga_set_pin_Dclk(unsigned char uchValue)
{
	GPIO_PinState theGpioPinState = GPIO_PIN_RESET;

	if( uchValue !=  0x00 ) { theGpioPinState = GPIO_PIN_SET; }

	HAL_GPIO_WritePin( FPGA_DCLK_GPIO_Port, FPGA_DCLK_Pin , theGpioPinState );
}

void fpga_set_pin_Data0(unsigned char uchValue)
{
	GPIO_PinState theGpioPinState = GPIO_PIN_RESET;

	if( uchValue !=  0x00 ) { theGpioPinState = GPIO_PIN_SET; }

	HAL_GPIO_WritePin( FPGA_DATA0_GPIO_Port, FPGA_DATA0_Pin , theGpioPinState );
}

void fpga_set_pin_nConfig(unsigned char uchValue)
{
	GPIO_PinState theGpioPinState = GPIO_PIN_SET;

	if( uchValue ==  0x00 ) { theGpioPinState = GPIO_PIN_RESET; }

	HAL_GPIO_WritePin( FPGA_nCONFIG_GPIO_Port, FPGA_nCONFIG_Pin , theGpioPinState );

}

unsigned char fpga_get_pin_nStatus(void)
{
	GPIO_PinState theGpioPinState = GPIO_PIN_RESET;

	theGpioPinState =  HAL_GPIO_ReadPin( FPGA_nSTATUS_GPIO_Port, FPGA_nSTATUS_Pin );

	if( theGpioPinState == GPIO_PIN_RESET ) { return 0x00; }

	return 0x01;
}

unsigned char fpga_get_pin_ConfDone(void)
{
	GPIO_PinState theGpioPinState = GPIO_PIN_RESET;

	theGpioPinState =  HAL_GPIO_ReadPin( FPGA_CONF_DONE_GPIO_Port, FPGA_CONF_DONE_Pin );

	if( theGpioPinState == GPIO_PIN_RESET ) { return 0x00; }

	return 0x01;
}

/* USER CODE END 4 */

void Error_Handler(void)
{
}

/************************ (C) COPYRIGHT STMicroelectronics *****END OF FILE****/
